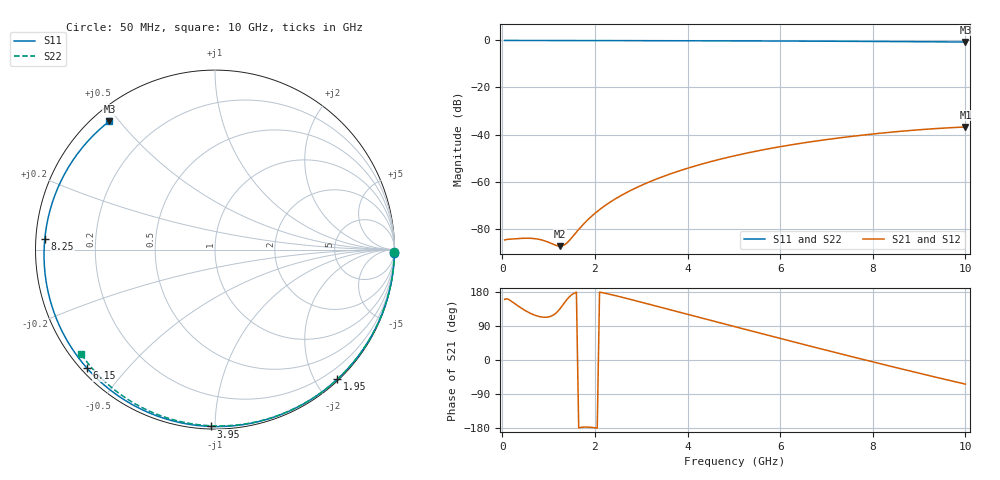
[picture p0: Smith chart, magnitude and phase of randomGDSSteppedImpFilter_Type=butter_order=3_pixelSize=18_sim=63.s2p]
! freq	dB(S11)	phase(S11)	dB(S12)	phase(S12)
!  dB(S21)	phase(S21)	dB(S22)	phase(S22)
!S-par simulation data
#  GHz  S  DB  R 50
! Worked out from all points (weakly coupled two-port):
!   200 points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, 50 MHz to 10 GHz, reference 50 ohm
!   highest |S21| = -36.79 dB at 10 GHz (marker M1); lowest = -87.5 dB at 1.25 GHz (marker M2)
!   lowest |S11| = -0.7 dB at 10 GHz (marker M3), VSWR 26.11, Z = 2.34 + j23.6 ohm
!   |S11| at or under -10 dB: nowhere
!   |S22| runs from -0.5 to 0.0 dB; largest |S21 - S12| = 0
!   S11 on the Smith chart (normalised r, x): 50 MHz: 0, -94; 1.95 GHz: 0.02, -2.32; 3.95 GHz: 0.01, -0.98; 6.15 GHz: 0.02, -0.39; 8.25 GHz: 0.03, +0.03; 10 GHz: 0.05, +0.47
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0.05  -0.00 -1.2  -84.83 160.1  -84.83 160.1  -0.00 -0.8
0.65  -0.02 -15.8  -84.17 120.8  -84.17 120.8  -0.01 -10.6
1.25  -0.04 -30.2  -87.47 135.9  -87.47 135.9  -0.02 -20.3
1.65  -0.05 -39.7  -80.34 -179.1  -80.34 -179.1  -0.03 -26.7
1.75  -0.05 -42.0  -78.16 -177.2  -78.16 -177.2  -0.04 -28.3
1.95  -0.06 -46.7  -74.36 -178.1  -74.36 -178.1  -0.04 -31.5
2.25  -0.07 -53.6  -69.78 175.4  -69.78 175.4  -0.05 -36.2
2.55  -0.08 -60.5  -66.10 166.7  -66.10 166.7  -0.05 -40.8
2.95  -0.09 -69.4  -62.09 154.2  -62.09 154.2  -0.06 -47.0
3.4  -0.10 -79.4  -58.38 139.8  -58.38 139.8  -0.07 -53.8
3.95  -0.13 -91.3  -54.64 122.2  -54.64 122.2  -0.09 -61.9
4.5  -0.15 -103.0  -51.52 104.6  -51.52 104.6  -0.10 -69.9
5.05  -0.18 -114.5  -48.88 87.1  -48.88 87.1  -0.12 -77.7
6.15  -0.25 -137.4  -44.66 52.2  -44.66 52.2  -0.16 -92.7
6.7  -0.29 -149.0  -42.97 35.0  -42.97 35.0  -0.19 -100.0
7.5  -0.36 -166.4  -40.89 10.3  -40.89 10.3  -0.24 -110.4
8.25  -0.44 176.3  -39.27 -12.5  -39.27 -12.5  -0.30 -119.9
8.35  -0.46 173.9  -39.08 -15.5  -39.08 -15.5  -0.31 -121.1
8.8  -0.51 162.7  -38.28 -28.9  -38.28 -28.9  -0.35 -126.8
9.2  -0.56 152.3  -37.68 -40.7  -37.68 -40.7  -0.39 -131.8
9.6  -0.61 141.2  -37.18 -52.3  -37.18 -52.3  -0.44 -136.9
10  -0.67 129.4  -36.79 -63.7  -36.79 -63.7  -0.48 -142.1
